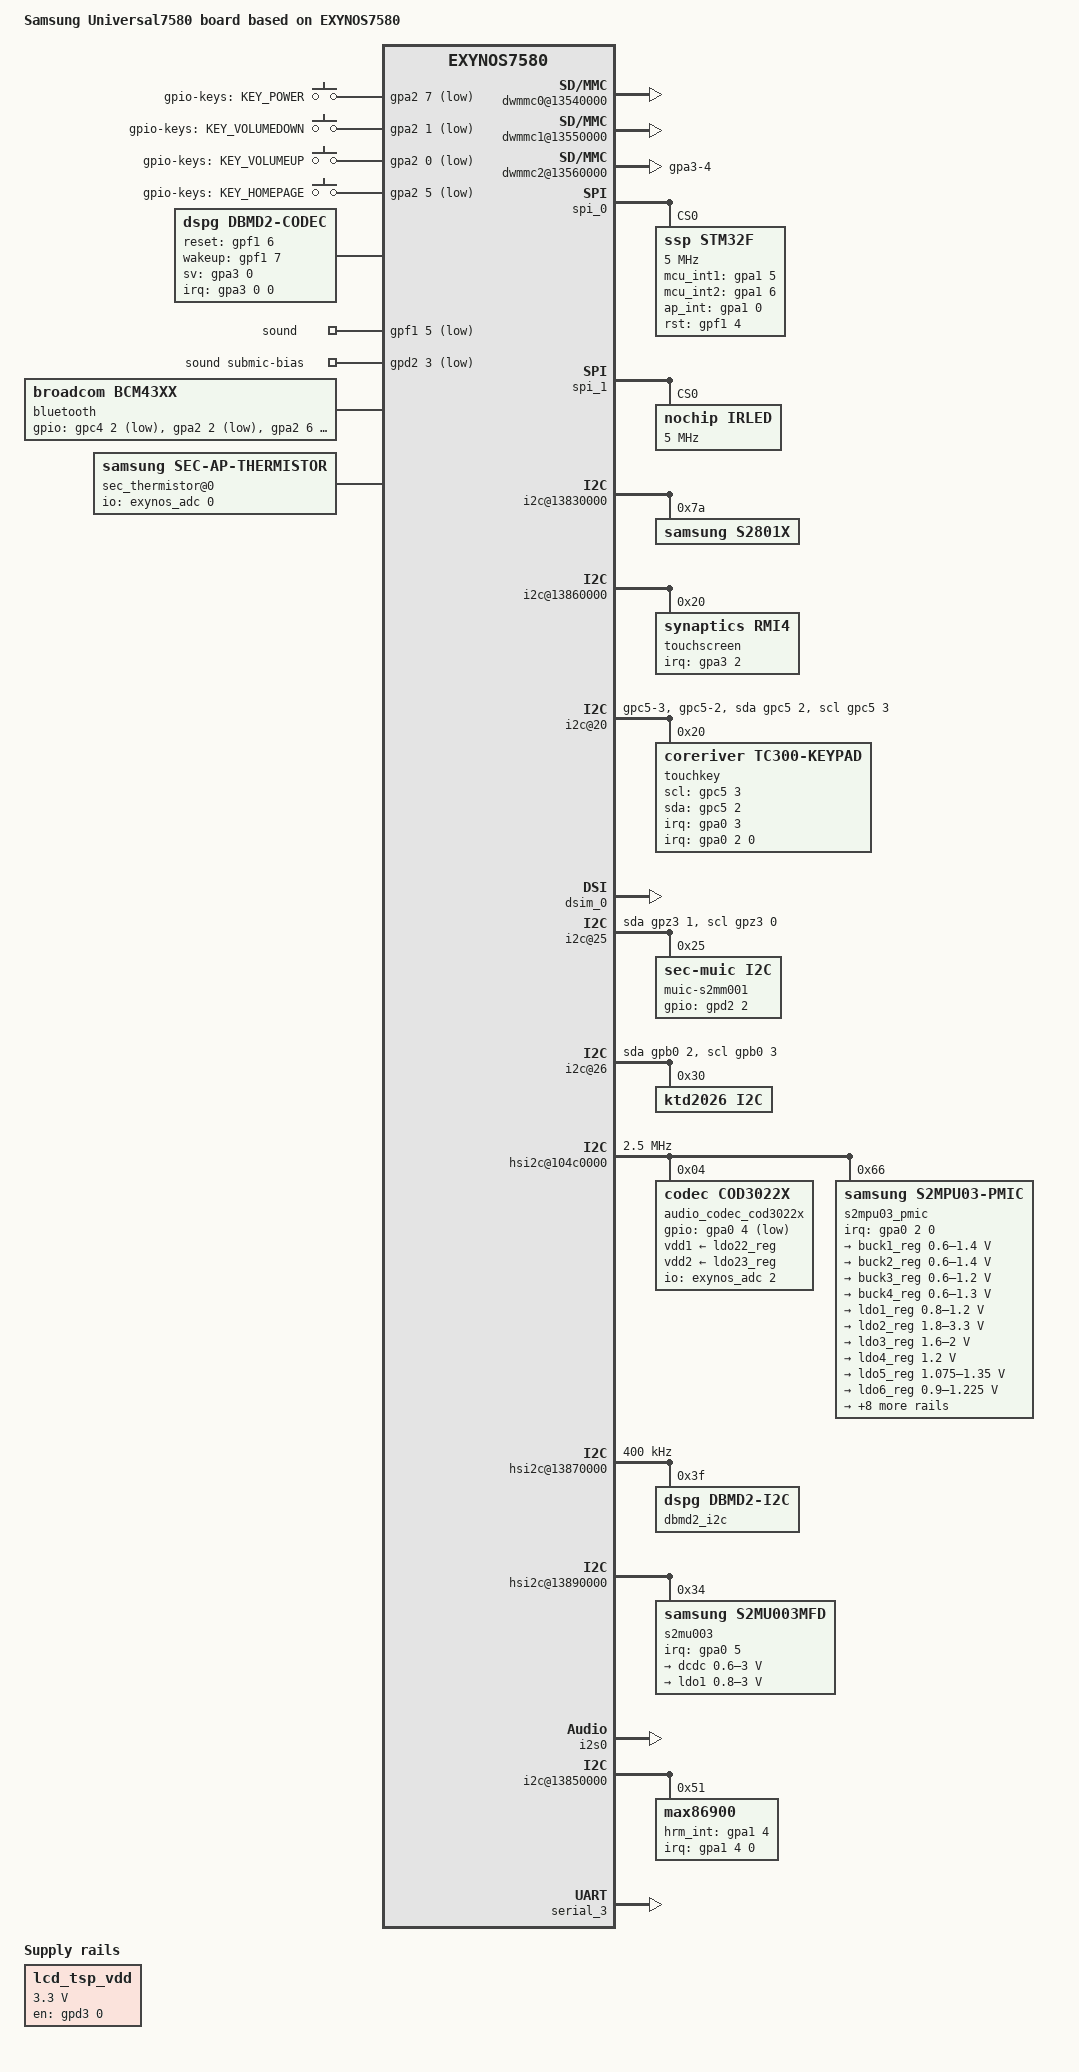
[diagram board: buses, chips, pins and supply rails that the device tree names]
/*
 * SAMSUNG Universal7580 board device tree source
 *
 * Copyright (c) 2014 Samsung Electronics Co., Ltd.
 *		http://www.samsung.com
 *
 * This program is free software; you can redistribute it and/or modify
 * it under the terms of the GNU General Public License version 2 as
 * published by the Free Software Foundation.
 */

/dts-v1/;
#include "exynos7580-reserve-2000MB.dtsi"
#include "exynos7580.dtsi"
#include "modem-carmen2-pdata.dtsi"
#include "exynos7580-carmen2_battery.dtsi"
#include "exynos7580-carmen2_fingerprint-sensor_00.dtsi"

&pinctrl_0 {
	pinctrl-names = "default","sleep";
	pinctrl-0 = <&initial0>;
	pinctrl-1 = <&sleep0>;
	initial0: initial-state {
		gpa1-0 {
			samsung,pins = "gpa1-0"; /* SSP_AP_INT */
			samsung,pin-function = <1>;
			samsung,pin-pud = <3>;
			samsung,pin-drv = <3>;
			samsung,pin-val = <1>;
		};
		gpa1-5 {
			samsung,pins = "gpa1-5"; /* SSP_MCU_INT1 */
			samsung,pin-function = <0>;
			samsung,pin-pud = <0>;
			samsung,pin-drv = <0>;
		};
		gpa1-6 {
			samsung,pins = "gpa1-6"; /* SSP_MCU_INT2 */
			samsung,pin-function = <0>;
			samsung,pin-pud = <0>;
			samsung,pin-drv = <0>;
		};
	};

	sleep0: sleep-state {
		gpa1-0 {
			samsung,pins = "gpa1-0"; /* SSP_AP_INT */
			samsung,pin-con-pdn = <3>;
			samsung,pin-pud-pdn = <0>;
		};
		gpa1-5 {
			samsung,pins = "gpa1-5"; /* SSP_MCU_INT1 */
			samsung,pin-con-pdn = <3>;
			samsung,pin-pud-pdn = <0>;
		};
	};
};

&pinctrl_6 {
	pinctrl-names = "default";
	pinctrl-0 = <&initial6>;
	initial6: initial-state {
		gpf1-4 {
			samsung,pins = "gpf1-4"; /* SSP_RST */
			samsung,pin-function = <1>;
			samsung,pin-pud = <0>;
			samsung,pin-drv = <0>;
			samsung,pin-val = <1>;
		};
	};
};

/ {
	model = "Samsung Universal7580 board based on EXYNOS7580";
	model_info-chip = <7580>;
	model_info-platform = "android";
	model_info-subtype = "samsung";
	model_info-hw_rev = <0>;
	model_info-hw_rev_end = <0>;
	compatible = "samsung,exynos7580-universal7580", "samsung,exynos7580";

	chosen {
		bootargs = "console=ttySAC1,115200n8 ess_setup=0x46000000 pmic_info=0x02";
		linux,initrd-start = <0x42000000>;
		linux,initrd-end = <0x421FFFFF>;
	};

	fixed-rate-clocks {
		oscclk {
			compatible = "samsung,exynos7580-oscclk";
			clock-frequency = <26000000>;
		};
	};

	dwmmc0@13540000 {
		status = "okay";
		num-slots = <1>;
		broken-cd;
		use-smu;
		fixed_volt;
		clock-gate;
		enable-cclk-on-suspend;
		only_once_tune;
		use-fine-tuning;
		ignore-phase = <(1 << 7)>;
		bypass-for-allpass;
		supports-highspeed;
		supports-hs200-mode;
		supports-ddr200-mode;
		supports-ddr200-enhanced-strobe;
		enable-cache-control;
		use-enable-shift;
		enable-ulp-mode;
		qos_int_level = <200000>;
		fifo-depth = <0x40>;
		card-detect-delay = <200>;
		samsung,dw-mshc-ciu-div = <3>;
		samsung,dw-mshc-sdr-timing = <3 0 2 0>;
		samsung,dw-mshc-ddr-timing = <3 0 2 2>;
		samsung,dw-mshc-hs200-timing = <3 0 3 0>;
		samsung,dw-mshc-ddr200-timing = <1 0 2 0>;
		samsung,dw-mshc-ddr200-ulp-timing = <3 0 3 0>;
		samsung,dw-mshc-ddr200-delay-line = <0x28>;
		samsung,dw-mshc-ddr200-tx-delay-line = <0x28>;
		samsung,dw-mshc-txdt-crc-timer-fastlimit = <0x34>;
		samsung,dw-mshc-txdt-crc-timer-initval = <0x38>;
		clk_pin = "gpr0-0";
		clk_addr = "13750000.pinctrl";
		clk_val = <0x3>;
		clk_str_num = <6>;
                tp_mon_depth = <2>;
                              /* Byte/s,  MIF clk, CPU clk, KFC clk*/
                tp_mon_table = <8000000 825000  800000  0
                                0       0       0       0>;
		num-ref-clks = <10>;
		ciu_clkin = <25 50 50 100 200 100 200 400 400 200>;
		pinctrl-names = "default";
		pinctrl-0 = <&sd0_clk &sd0_cmd &sd0_rdqs &sd0_bus1 &sd0_bus4 &sd0_bus8>;
		slot@0 {
			reg = <0>;
			bus-width = <8>;
		};
	};

	dwmmc1@13550000 {
		status = "okay";
		num-slots = <1>;
		channel = <1>;
		fixed_volt;
		clock-gate;
		enable-cclk-on-suspend;
		/* broken-cd; */
		caps-control;
		supports-highspeed;
		supports-sdr104-mode;
		keep-power-in-suspend;
		pm-ignore-notify;
		cd-type-external;
		use-broken-voltage;
		use-fine-tuning;
		ignore-phase = <(1 << 7)>;
		fifo-depth = <0x40>;
		card-detect-delay = <200>;
		qos_int_level = <468000>;
		samsung,dw-mshc-ciu-div = <3>;
		samsung,dw-mshc-sdr-timing = <3 0 2 1>;
		samsung,dw-mshc-ddr-timing = <3 0 2 1>;
		clk_pin = "gpr2-0";
		clk_addr = "13750000.pinctrl";
		clk_val = <0x2>;
		clk_str_num = <6>;
		num-ref-clks = <8>;
		ciu_clkin = <25 50 50 100 200 100 200 400>;
		tp_mon_depth = <2>;
				/* Byte/s,  MIF clk, CPU clk, KFC clk*/
                tp_mon_table = <8000000 825000  800000  0
				0       0       0       0>;
		pinctrl-names = "default";
		pinctrl-0 = <&sd1_clk &sd1_cmd &sd1_bus1 &sd1_bus4>;
		slot@0 {
			reg = <0>;
			bus-width = <4>;
		};
	};

	dwmmc2@13560000 {
		status = "okay";
		num-slots = <1>;
		supports-highspeed;
		supports-sdr104-mode;
		enable-cclk-on-suspend;
		cd-type = <1>;
		bypass-smu;
		use-fine-tuning;
		clock-gate;
		fifo-depth = <0x40>;
		card-detect-delay = <200>;
		qos_int_level = <468000>;
		bypass-for-allpass;
		fix-fmp-size-mismatch;
		not-allow-single-dma;
		samsung,dw-mshc-ciu-div = <3>;
		samsung,dw-mshc-sdr-timing = <3 0 3 2>;
		samsung,dw-mshc-ddr-timing = <3 0 2 1>;
		clk_pin = "gpr4-0";
		clk_addr = "10E60000.pinctrl";
		clk_val = <0x2>;
		clk_str_num = <6>;
		num-ref-clks = <8>;
		ciu_clkin = <25 50 50 100 200 100 200 400>;
		pinctrl-names = "default";
		pinctrl-0 = <&sd2_clk &sd2_cmd &sd2_cd &sd2_bus1 &sd2_bus4 &dwmmc2_cd_ext_irq>;
		gpio-controller;
		#gpio-cells = <2>;
		cd-gpio = <&gpa3 4 0xf>;
		sec-sd-slot-type = <1>; /* Normal SD tray */
		slot@0 {
			reg = <0>;
			bus-width = <4>;
			disable-wp;
		};
	};

	gpio_keys{
		compatible = "gpio-keys";
		pinctrl-names = "default";
		pinctrl-0 = <&gpa2_pull_up_univ>;

		button@1 {
			label = "gpio-keys: KEY_POWER";
			interrupt-parent = <&gpa2>;
			linux,code = <116>;
			gpios = <&gpa2 7 0xf>;
			gpio-key,wakeup = <1>;
		};
		button@2 {
			label = "gpio-keys: KEY_VOLUMEDOWN";
			interrupt-parent = <&gpa2>;
			linux,code = <114>;
			gpios = <&gpa2 1 0xf>;
		};
		button@3 {
			label = "gpio-keys: KEY_VOLUMEUP";
			interrupt-parent = <&gpa2>;
			linux,code = <115>;
			gpios = <&gpa2 0 0xf>;
		};
		button@4 {
			label = "gpio-keys: KEY_HOMEPAGE";
			interrupt-parent = <&gpa2>;
			linux,code = <172>;
			gpios = <&gpa2 5 0xf>;
			gpio-key,wakeup = <1>;
		};
	};

	pinctrl@139B0000 {
		cfg_irq: cfg-irq {
			samsung,pins = "gpa0-3";
			samsung,pin-function = <0xf>;
			samsung,pin-pud = <3>;
			samsung,pin-drv = <0>;
		};
		cfg_input: cfg-input {
			samsung,pins = "gpa0-3";
			samsung,pin-function = <0>;
			samsung,pin-pud = <1>;
			samsung,pin-drv = <0>;
		};
		attn_irq: attn-irq {
			samsung,pins = "gpa3-2";
			samsung,pin-function = <0xf>;
			samsung,pin-pud = <0>;
			samsung,pin-drv = <0>;
		};
		attn_input: attn-input {
			samsung,pins = "gpa3-2";
			samsung,pin-function = <0>;
			samsung,pin-pud = <1>;
			samsung,pin-drv = <0>;
		};
		if_irq: if-irq {
			samsung,pins = "gpa0-5";
			samsung,pin-pud = <3>;
			samsung,pin-drv = <3>;
		};
		muic_irq: muic-irq {
			samsung,pins = "gpa1-3";
			samsung,pin-pud = <0>;
			samsung,pin-drv = <0>;
		};
		dwmmc2_cd_ext_irq: dwmmc2_cd_ext_irq {
			samsung,pins = "gpa3-4";
			samsung,pin-function = <0xf>;
			samsung,pin-pud = <3>;
			samsung,pin-drv = <0>;
		};
	};

	spi_0: spi@13910000 {
		/delete-property/ dma-mode;
		/delete-property/ dmas;
		/delete-property/ dma-names;
		#address-cells = <1>;
		#size-cells = <0>;
		pinctrl-names = "default";
		pinctrl-0 = <&spi0_bus>;
		pinctrl-1 = <&spi0_cs>;
		num-cs = <1>;
		status = "okay";

		STM32F@0 {
			compatible = "ssp,STM32F";
			reg = <0>;
			spi-max-frequency = <5000000>;
			spi-cpol;
			spi-cpha;
			pinctrl-names = "default";
			pinctrl-0 = <&ssp_rst &ssp_ap_int &ssp_mcu_int1 &ssp_mcu_int2>;

			gpio-controller;
			#gpio-cells = <2>;
			ssp,mcu_int1-gpio = <&gpa1 5 0x00>;
			ssp,mcu_int2-gpio = <&gpa1 6 0x00>;
			ssp,ap_int-gpio = <&gpa1 0 0x00>;
			ssp,rst-gpio = <&gpf1 4 0x00>;
			ssp,acc-position = <6>;
			ssp,mag-position = <7>;
			ssp,prox-hi_thresh = <130>;
			ssp,prox-low_thresh = <90>;

			controller-data {
				cs-gpio = <&gpb2 1 0>;
				samsung,spi-feedback-delay = <0>;
			};
		};
	};

	spi_1: spi@13920000 {
		/delete-property/ dma-mode;
		/delete-property/ dmas;
		/delete-property/ dma-names;
		#address-cells = <1>;
		#size-cells = <0>;
		pinctrl-names = "default";
		pinctrl-0 = <&spi1_bus>;
		pinctrl-1 = <&spi1_cs>;
		status = "okay";

		irled@0 {
			compatible = "nochip,irled";
			reg = <0>;
			spi-max-frequency = <5000000>;
			irled,default_hz = <38000>;
			irled,high_bit_size = <6>;
			irled,power_type = "ALW";
			irled,regulator = "VLED_3P3";

			controller-data {
				cs-gpio = <&gpb2 7 0>;
				samsung,spi-feedback-delay = <0>;
				samsung,spi-chip-select-mode = <0>;
			};
		};
	};

	pinctrl@138C0000 {
		gpio_cp_reset: gpio_cp_reset {
			samsung,pins = "gpc3-3";
			samsung,pin-function = <0x1>;
			samsung,pin-pud = <3>;
			samsung,pin-drv = <3>;
			samsung,pin-val = <1>;
			samsung,pin-con-pdn = <1>;
		};
	};

	pinctrl@138D0000 {
		i2c_pdn_off: i2c-pdn_off {
			samsung,pins = "gpc4-1", "gpc4-0";
			samsung,pin-con-pdn = <2>;
			samsung,pin-pud-pdn = <1>;
		};
	};

	i2c@13830000 {
		samsung,i2c-sda-delay = <100>;
		samsung,i2c-max-bus-freq = <400000>;
		status = "okay";

		s2801x: s2801x@7a {
			compatible = "samsung,s2801x";
			reg = <0x7a>;
			clocks = <&clock 154>,	/* sclk_audmixer */
				 <&clock 155>,	/* sclk_audmixer_bclk0*/
				 <&clock 156>,	/* sclk_audmixer_bclk1 */
				 <&clock 157>,	/* sclk_audmixer_bclk2 */
				 <&clock 152>,	/* bclk_mi2s */
				 <&clock 149>;	/* dout_audmixer*/

			clock-names = "audmixer_sysclk", "audmixer_bclk0",
					"audmixer_bclk1", "audmixer_bclk2",
					"mi2s_bclk", "audmixer_dout";
			sysreg-reset = <0x110F2000>;
			sysreg-i2c = <0x110F3000>;
			pinctrl-names = "default", "idle", "bt-idle";
			pinctrl-0 = <&i2s_pmic_bus
					&i2s_codec_clk
					&pcm_bt_bus>;
			pinctrl-1 = <&i2s_pmic_bus_idle
					&i2s_codec_clk_idle
					&pcm_bt_bus_idle>;
			pinctrl-2 = <&i2s_pmic_bus
					&i2s_codec_clk
					&pcm_bt_bus_idle>;
			samsung,lpass-subip;
		};
	};

	i2c@13860000 {
		samsung,i2c-sda-delay = <100>;
		samsung,i2c-max-bus-freq = <400000>;
		status = "okay";

		touchscreen@20 {
			compatible = "synaptics,rmi4";
			reg = <0x20>;
			pinctrl-names = "on_state", "off_state";
			pinctrl-0 = <&attn_irq>;
			pinctrl-1 = <&attn_input &i2c_pdn_off>;
			synaptics,irq_gpio = <&gpa3 2 0>;
			synaptics,irq_type = <8200>;
			synaptics,max_coords = <1079 1919>;	/* x y */
			synaptics,num_lines = <29 16>;		/* rx tx */
			synaptics,regulator_dvdd = "lcd_tsp_vdd";
			synaptics,regulator_avdd = "tsp_avdd";
			synaptics,project_name = "K", "G900H";
			synaptics,firmware_name = "tsp_synaptics/synaptics_s5100_a3_k_FHD.fw";
		};
	};

	pinctrl@139C0000 {
		/* touchkey i2c*/
		cfg_i2c: cfg-i2c {
			samsung,pins = "gpc5-3", "gpc5-2";
			samsung,pin-function = <0>;
			samsung,pin-pud = <3>;
			samsung,pin-drv = <0>;
		};
		cfg_gpio: cfg-gpio {
			samsung,pins = "gpc5-3", "gpc5-2";
			samsung,pin-function = <0>;
			samsung,pin-pud = <0>;
			samsung,pin-drv = <0>;
		};
	};

	i2c@20 {
		compatible = "i2c-gpio";
		gpios = <&gpc5 2 0
				&gpc5 3 0>;
		i2c-gpio,delay-us = <5>;
		pinctrl-names = "default","on_i2c","off_i2c";
		pinctrl-0 = <&cfg_i2c>;
		pinctrl-1 = <&cfg_i2c>;
		pinctrl-2 = <&cfg_gpio>;
		#address-cells = <1>;
		#size-cells = <0>;
		status = "okay";

		touchkey@20 {
			pinctrl-names = "on_irq","off_irq";
			pinctrl-0 = <&cfg_irq>;
			pinctrl-1 = <&cfg_input>;
			compatible = "coreriver,tc300-keypad";
			reg = <0x20>;
			interrupts = <2 0 0>;
			interrupt-parent = <&gpa0>;
			coreriver,scl-gpio = <&gpc5 3 0>;
			coreriver,sda-gpio = <&gpc5 2 0>;
			coreriver,irq-gpio = <&gpa0 3 0>;
			coreriver,regulator_ic = "vtouch_1.8v";
			coreriver,fw_name = "coreriver/tc305k_carmen2.fw";
			coreriver,sensing_ch_num = <0x4>;
			coreriver,tsk_ic_num = <0x1>; /* tc300k : 0x00, tc350k : 0x01 */
			coreriver,use_bitmap = <1>;
		};
	};

	ion {
		compatible = "samsung,exynos5430-ion";
	};

	decon_fb@14830000 {
		/* XEINT7, GPIO & pin control */
		gpios = <&gpd0 7 0xf>;
		psr_mode = <2>;		/* 0: video mode, 1: DP command mode, 2: MIPI command mode */
		disp-pll-clk = <142000000>;
		status = "okay";
	};

	dsim_0: dsim@14800000 {
		lcd_info = <&s6e3fa2>;
		decon_board = <&decon_board_list>;
		/* lcd reset, power */
		/* gpios = <&gpd1 3 0x1>, <&gpd1 1 0x1>; */
		/* lcd_vdd = "lcd_tsp_vdd"; */
		status = "okay";
	};

	decon_board_list: decon_board_list {
		dsim_set_panel_power_enable {
			type = "regulator,enable", "gpio,high", "delay,usleep";
			gpios = <&gpd1 1 0x1>;
			delay = <10000 11000>;
			regulator = "lcd_tsp_vdd";
		};
		dsim_set_panel_power_disable {
			type = "gpio,low", "delay,usleep", "gpio,low", "delay,usleep", "regulator,disable";
			gpios = <&gpd1 3 0x1>, <&gpd3 1 0x1>;
			delay = <10000 11000>, <5000 6000>;
			regulator = "lcd_tsp_vdd";
		};
		dsim_reset_panel {
			type = "gpio,high", "delay,usleep", "gpio,low", "delay,usleep", "gpio,high", "delay,usleep";
			gpios = <&gpd1 3 0x1>, <&gpd1 3 0x1>, <&gpd1 3 0x1>;
			delay = <10000 11000>, <10000 11000>, <10000 11000>;
		};
	};

	s6e3fa2: s6e3fa2_fhd {
		mode = <2>;
		resolution = <1080 1920>;
		size = <70 121>;
		timing,refresh = <60>;
		timing,h-porch = <1 1 1>;
		timing,v-porch = <12 1 1>;
		timing,dsi-hs-clk = <1024>;
		timing,dsi-escape-clk = <16>;
		mic = <0>;
	};

	usb_notifier {
		compatible = "samsung,usb-notifier";
	};

	i2c@25 {
		compatible = "i2c-gpio";
		gpios = <&gpz3 1 0
			&gpz3 0 0>;
		i2c-gpio,delay-us = <5>;
		#address-cells = <1>;
		#size-cells = <0>;
		status = "okay";
		muic-s2mm001@25 {
			compatible = "sec-muic,i2c";
			reg = <0x25>;
			pinctrl-names = "default";
			pinctrl-0 = <&muic_irq>;
			muic,muic_int = <&gpa1 3 0>;
			gpios = <&gpd2 2 0>;
		};
	};

	i2c@26 {
		compatible = "i2c-gpio";
		gpios = <&gpb0 2 0
			&gpb0 3 0>;
		i2c-gpio,delay-us = <5>;
		#address-cells = <1>;
		#size-cells = <0>;
		status = "okay";
		ktd2026@26 {
			compatible = "ktd2026,i2c";
			reg = <0x30>;
			pinctrl-names = "default";

			led_conf@1 {
				led_conf-name = "led_r";
				brightness = <0>;
				max_brightness = /bits/ 8 <0x20>;
				flags = <0>;
			};
			led_conf@2 {
				led_conf-name = "led_g";
				brightness = <0>;
				max_brightness = /bits/ 8 <0x20>;
				flags = <0>;
			};
			led_conf@3 {
				led_conf-name = "led_b";
				brightness = <0>;
				max_brightness = /bits/ 8 <0x20>;
				flags = <0>;
			};
		};
	};

	pinctrl@139B0000 {
		pmic_irq: pmic-irq {
			samsung,pins = "gpa0-2";
			samsung,pin-pud = <3>;
			samsung,pin-drv = <3>;
		};
		cod3022_irq: cod3022-irq {
                        samsung,pins = "gpa0-4";
                        samsung,pin-pud = <3>;
                        samsung,pin-drv = <3>;
                };
		ssp_ap_int: ssp-ap-int {
			samsung,pins = "gpa1-0";
			samsung,pin-function = <0xf>;
			samsung,pin-pud = <3>;
			samsung,pin-drv = <3>;
		};
		ssp_mcu_int1: ssp-mcu-int1 {
			samsung,pins = "gpa1-5";
			samsung,pin-function = <0>;
			samsung,pin-pud = <0>;
			samsung,pin-drv = <0>;
		};
		ssp_mcu_int2: ssp-mcu-int2 {
			samsung,pins = "gpa1-6";
			samsung,pin-function = <0>;
			samsung,pin-pud = <0>;
			samsung,pin-drv = <0>;
		};
	};

	pinctrl@138C0000 {
		/* Warm reset information from AP */
		pm_wrsti: pm-wrsti {
			samsung,pins = "gpc3-2";
			samsung,pin-con-pdn = <3>;
		};
	};

	but_zones: but_zones {
		#list-but-cells = <3>;
	};

	hsi2c@104c0000 {
		status = "okay";
		samsung,hs-mode;
		clock-frequency = <2500000>;
		samsung,hsi2c-batcher;
		#address-cells = <1>;
		#size-cells = <0>;

		audio_codec_cod3022x: cod3022x@04 {
			compatible = "codec,cod3022x";
			reg = <0x04>;
			ten-bit-address;
			vdd1-supply = <&ldo22_reg>;
			vdd2-supply = <&ldo23_reg>;
			pinctrl-names = "default";
			pinctrl-0 = <&cod3022_irq>;
			interrupt-parent = <&gpa0>;
			gpios = <&gpa0 4 0xf>;
			/* Mic Bias: 0->2.1v, 1->2.5v, 2->2.6v, 3->3.0v */
			mic-bias1-voltage = <3>;
			mic-bias2-voltage = <3>;
			use-btn-adc-mode;
			io-channels = <&exynos_adc 2>;
			io-channel-names = "adc-jack";
			#io-channel-cells = <1>;
			io-channel-ranges;
			but-zones-list = <&but_zones 0 700 780>, /* send/end */
					<&but_zones 1 800 870>, /* google */
					<&but_zones 2 880 1000>, /* vol up */
					<&but_zones 3 1100 1200>; /* vol down */
		};

		s2mpu03_pmic@66 {
			compatible = "samsung,s2mpu03-pmic";
			reg = <0x66>;
			ten-bit-address;
			interrupts = <2 0 0>;
			interrupt-parent = <&gpa0>;
			pinctrl-names = "default";
			pinctrl-0 = <&pmic_irq &pm_wrsti>;
			g3d_en = <1>; /* 1 : enable , 0 : disable */
			buck4en_pin = "etc1-3";
			buck4en_addr = "139B0080.pinctrl";
			/* RTC: wtsr/smpl */
			wtsr_en = <1>; /* enable */
			smpl_en = <1>; /* enable */
			wtsr_timer_val = <3>;   /* 1000ms */
			smpl_timer_val = <4>;   /* 500ms */
			check_jigon = <0>; /* do not check jigon */
			/* RTC: If it's first boot, reset rtc to 1/1/2014 12:00:00(Wed) */
			init_time,sec = <0>;
			init_time,min = <0>;
			init_time,hour = <12>;
			init_time,mday = <1>;
			init_time,mon = <0>;
			init_time,year = <114>;
			init_time,wday = <3>;

			regulators {
				buck1_reg: BUCK1 {
					regulator-name = "cpu-cluster.1";
					regulator-min-microvolt = <600000>;
					regulator-max-microvolt = <1400000>;
					regulator-always-on;
					regulator-boot-on;
					regulator-ramp-delay = <12000>;
					regulator-initial-mode = <1>;
				};

				buck2_reg: BUCK2 {
					regulator-name = "cpu-cluster.0";
					regulator-min-microvolt = <600000>;
					regulator-max-microvolt = <1400000>;
					regulator-always-on;
					regulator-boot-on;
					regulator-ramp-delay = <12000>;
					regulator-initial-mode = <1>;
				};

				buck3_reg: BUCK3 {
					regulator-name = "vdd_intmif";
					regulator-min-microvolt = <600000>;
					regulator-max-microvolt = <1200000>;
					regulator-always-on;
					regulator-boot-on;
					regulator-ramp-delay = <12000>;
					regulator-initial-mode = <1>;
				};

				buck4_reg: BUCK4 {
					regulator-name = "vdd_g3d";
					regulator-min-microvolt = <600000>;
					regulator-max-microvolt = <1300000>;
					regulator-always-on;
					regulator-boot-on;
					regulator-ramp-delay = <12000>;
					regulator-initial-mode = <1>;
				};

				ldo1_reg: LDO1 {
					regulator-name = "vdd_ldo1";
					regulator-min-microvolt = <800000>;
					regulator-max-microvolt = <1200000>;
					regulator-always-on;
					regulator-ramp-delay = <12000>;
					regulator-initial-mode = <3>;
				};

				ldo2_reg: LDO2 {
					regulator-name = "vqmmc";
					regulator-min-microvolt = <1800000>;
					regulator-max-microvolt = <3300000>;
					regulator-boot-on;
					regulator-always-on;
					regulator-ramp-delay = <12000>;
					regulator-initial-mode = <1>;
				};

				ldo3_reg: LDO3 {
					regulator-name = "vdd_ldo3";
					regulator-min-microvolt = <1600000>;
					regulator-max-microvolt = <2000000>;
					regulator-boot-on;
					regulator-always-on;
					regulator-ramp-delay = <12000>;
					regulator-initial-mode = <3>;
				};

				ldo4_reg: LDO4 {
					regulator-name = "vdd_ldo4";
					regulator-min-microvolt = <1200000>;
					regulator-max-microvolt = <1200000>;
					regulator-boot-on;
					regulator-always-on;
					regulator-ramp-delay = <12000>;
					regulator-initial-mode = <1>;
				};

				ldo5_reg: LDO5 {
					regulator-name = "vdd_ldo5";
					regulator-min-microvolt = <1075000>;
					regulator-max-microvolt = <1350000>;
					regulator-boot-on;
					regulator-always-on;
					regulator-ramp-delay = <12000>;
					regulator-initial-mode = <3>;
				};

				ldo6_reg: LDO6 {
					regulator-name = "vdd_ldo6";
					regulator-min-microvolt = <900000>;
					regulator-max-microvolt = <1225000>;
					regulator-boot-on;
					regulator-always-on;
					regulator-ramp-delay = <12000>;
					regulator-initial-mode = <1>;
				};

				ldo7_reg: LDO7 {
					regulator-name = "vdd_ldo7";
					regulator-min-microvolt = <1600000>;
					regulator-max-microvolt = <2000000>;
					regulator-boot-on;
					regulator-always-on;
					regulator-initial-mode = <1>;
				};

				ldo8_reg: LDO8 {
					regulator-name = "vdd_ldo8";
					regulator-min-microvolt = <2250000>;
					regulator-max-microvolt = <3300000>;
					regulator-boot-on;
					regulator-always-on;
					regulator-initial-mode = <1>;
				};

				ldo10_reg: LDO10 {
					regulator-name = "vdd_ldo10";
					regulator-min-microvolt = <800000>;
					regulator-max-microvolt = <1350000>;
					regulator-always-on;
					regulator-initial-mode = <1>;
				};

				ldo22_reg: LDO22 {
					regulator-name = "codec_ldo22";
					regulator-min-microvolt = <1000000>;
					regulator-max-microvolt = <2375000>;
					regulator-initial-mode = <1>;
				};

				ldo23_reg: LDO23 {
					regulator-name = "codec_ldo23";
					regulator-min-microvolt = <1000000>;
					regulator-max-microvolt = <2375000>;
					regulator-initial-mode = <1>;
				};

				ldo28_reg: LDO28 {
					regulator-name = "vtouch_1.8v";
					regulator-min-microvolt = <1800000>;
					regulator-max-microvolt = <1800000>;
					/* regulator-always-on; */
					regulator-initial-mode = <1>;
				};

				ldo33_reg: LDO33 {
					regulator-name = "tsp_avdd";
					regulator-min-microvolt = <1800000>;
					regulator-max-microvolt = <3375000>;
					regulator-always-on;
					regulator-initial-mode = <1>;
				};

				ldo37_reg: LDO37 {
					regulator-name = "VLED_3P3";
					regulator-min-microvolt = <3300000>;
					regulator-max-microvolt = <3350000>;
					regulator-always-on;
					regulator-initial-mode = <1>;
				};
			};
		};
	};

	lcd_tsp_vdd: gpio-regulator {
		compatible = "regulator-fixed";

		regulator-name = "lcd_tsp_vdd";
		regulator-min-microvolt = <3300000>;
		regulator-max-microvolt = <3300000>;

		gpio = <&gpd3 0 0x1>;
		regulator-always-on;

		startup-delay-us = <100000>;
		enable-active-high;
	};

	hsi2c@13870000 {
		status = "okay";
		samsung,hs-mode;
		clock-frequency = <400000>;
		#address-cells = <1>;
		#size-cells = <0>;
		dbmd2_i2c: dbmd2_interface@3f {
			status = "okay";
			compatible = "dspg,dbmd2-i2c";
			reg = <0x3f>;
			/* operational-addr = <0x48>; */
 		};
	};

	dbmd2 {
		status = "okay";
		compatible = "dspg,dbmd2-codec";
		reset-gpio = <&gpf1 6 0>;
		wakeup-gpio = <&gpf1 7 0>;
		sv-gpio = <&gpa3 0 0>;

		/* auto_buffering = <1>; */
		/* buffer_size = <96000>; */
		/* audio_mode = <0>; */
		cmd-interface = <&dbmd2_i2c>;
		feature-va;  /* enable VA */
		feature-vqe; /* enable VQE */
		/* feature-firmware-overlay; */
		va-firmware-name = "dbmd2_va_fw_i2c.bin";
		vqe-firmware-name = "dbmd2_vqe_fw_i2c.bin";
		/* vqe-non-overlay-firmware-name = "dbmd2_vqe_non_overlay_fw_i2c.bin"; */

		/* SPI MISO line is also D2's strap1 and requires reset during D2 resets */
		d2-strap1 = <&gpz2 2 0>;
		d2-strap1-rst-val = <1>;

		va-config = <0x80220103
			0x80150087
			0x801b0020
			0x80210000
			0x80230040
			0x80280301>;

		va-speeds = <0x0000 57600 0 0
			     0x0000 1000000 0 0
			     0x0000 1000000 0 0>;

		va-mic-config = <0x0000 0x0000 0x0005>;
		va-mic-mode = <4>;
		/* vqe-config = < >; */
		vqe-modes = <0 1 2 3 4 5 0x100>;
		master-clk-rate = <32768>;
		auto_detection = <1>;

		interrupts = <0 0 0>;
		interrupt-parent = <&gpa3>;

		gpio-controller;
		#gpio-cells = <2>;

		pinctrl-names = "default";
		pinctrl-0 = <&dbmd_reset &dbmd_wakeup &dbmd_sensory>;
	};

	dbmd2_event {
		status = "okay";
		compatible = "samsung,dbmd2-event";
	};

	hsi2c@13890000 {
		status = "okay";
		s2mu003@34 {
			compatible = "samsung,s2mu003mfd";
			reg = <0x34>;
			pinctrl-names = "default";
			pinctrl-0 = <&if_irq>;
			s2mu003,irq-gpio = <&gpa0 5 0>;

			regulators {
				s2mu003-buck1 {
					regulator-name = "dcdc";
					regulator-min-microvolt = <600000>;
					regulator-max-microvolt = <3000000>;
					regulator-always-on;
					regulator-boot-on;
				};
				s2mu003-ldo1 {
					regulator-name = "ldo1";
					regulator-min-microvolt = <800000>;
					regulator-max-microvolt = <3000000>;
					regulator-always-on;
					regulator-boot-on;
				};
			};

			leds {
				torch-gpio = <&gpe0 1 0>;
				flash-gpio = <&gpe0 2 0>;

				status = "okay";
				s2mu003-leds1 {
					ledname = "leds-sec1";
					id = <0>;
					brightness = <0x17>;
					timeout = <0x0>;
					max-brightness = <0x15>;
				};

				s2mu003-leds2 {
					ledname = "leds-sec2";
					id = <1>;
					brightness = <0x02>;
					timeout = <0x0>;
					max-brightness = <0xf>;
				};
			};
		};
	};

	i2s0: i2s@11040000 {
		status = "okay";
	};

	audio_cp_dummy: cp_dummy {
		compatible = "samsung,cp_dummy";
		status = "okay";
	};

	audio_bt_dummy: bt_dummy {
		compatible = "samsung,bt_dummy";
		status = "okay";
	};

	audio_codec_dummy: dummy-codec {
		compatible = "samsung,dummy-codec";
		status = "okay";
	};

	sound {
		compatible = "samsung,universal7580-cod3022x";
		samsung,audio-cpu = <&i2s0	/* primary */
					&i2s0	/* secondary */
					&audio_cp_dummy
					&audio_bt_dummy>;
		samsung,audio-codec = <&audio_codec_cod3022x
					&audio_codec_cod3022x
					&audio_codec_cod3022x
					&audio_codec_dummy>;
		samsung,auxdev = <&s2801x>;
		gpios = <&gpf1 5 0x1>;
		submic-bias-gpio = <&gpd2 3 0x1>;
		samsung,codec-uses-i2scdclk;
		clocks = <&clock 151>;		 /* sclk_i2s */
		clock-names = "codec_bclk";
		pinctrl-names = "default";
		pinctrl-0 = <&sub_mic_bias_en>;
		status = "okay";
	};


	i2c@13850000 {
		status = "okay";
		max86900@51 {
			compatible = "max86900";
			pinctrl-names = "default";
			pinctrl-0 = <&hrm_ven &hrm_int>;
			reg = <0x51>;
			interrupt-parent = <&gpa1>;
			interrupts = <4 0 0>;
			max86900,hrm_int-gpio = <&gpa1 4 0>;
			max86900,vdd_1p8_en = <&gpd3 1 0>;
			max86900,led_3p3 = "VLED_3P3";
		};
	};

	pinctrl@139C0000 {
		motor_en: motor_en {
			samsung,pins = "gpe0-7";
			samsung,pin-function = <1>;	/* output */
			samsung,pin-pud = <3>;	/* pull up */
			samsung,pin-drv = <0>;
		};

		vibetonz_pwm: vibetonz_pwm {
			samsung,pins = "gpc1-1";
			samsung,pin-function = <2>;
			samsung,pin-pud = <0>;
			samsung,pin-drv = <0>;
		};
	};

	drv2603 {
		compatible = "drv2603";
		pinctrl-names = "default";
		pinctrl-0 = <&motor_en &vibetonz_pwm>;
		drv2603_pdata {
			status = "okay";
			drv2603,max_timeout = <10000>;
			drv2603,duty = <34500>;
			drv2603,period = <38240>;
			drv2603,pwm_id = <0>;
			drv2603,gpio_en = <&gpe0 7 0x1>;
		};
	};

	serial_3: uart@11060000 {
		/* Enable AUD-UART for Bluetooth */
		pinctrl-0 = <&uart_bt_active &uart_bt_output_sleep &uart_bt_input_sleep>;
		status = "okay";
	};

	bluetooth {
		compatible = "broadcom,bcm43xx";
		gpios = <&gpc4 2 0x1	/*BT_EN*/
				&gpa2 2 0x1	/*BT_WAKE*/
				&gpa2 6 0xF	/*BT_HOST_WAKE*/ >;
		pinctrl-names = "default";
		pinctrl-0=<&bt_hostwake &bt_btwake &bt_en>;
		status = "okay";
	};

	pinctrl@139C0000 {
		dbmd_wakeup: dbmd-wakeup {
			samsung,pins ="gpf1-7";
			samsung,pin-function = <1>;
			samsung,pin-pud = <1>;
			samsung,pin-con-pdn =<3>;
			samsung,pin-pud-pdn = <1>;
			samsung,pin-val = <0>;
		};
		dbmd_reset: dbmd-reset {
			samsung,pins ="gpf1-6";
			samsung,pin-function = <1>;
			samsung,pin-pud = <1>;
			samsung,pin-con-pdn =<3>;
			samsung,pin-pud-pdn = <1>;
			samsung,pin-val = <0>;
		};
		sub_mic_bias_en:sub-mic-bias-en {
			samsung,pins ="gpd2-3";
			samsung,pin-function = <1>;
			samsung,pin-pud = <0>;
			samsung,pin-con-pdn = <3>;
			samsung,pin-pud-pdn = <0>;
			samsung,pin-val = <0>;
		};
		ssp_rst: ssp-rst {
			samsung,pins = "gpf1-4";
			samsung,pin-function = <0xf>;
			samsung,pin-pud = <3>;
			samsung,pin-drv = <3>;
		};
	};
	pinctrl@139B0000 {
		dbmd_sensory: dbmd-sensory {
			samsung,pins = "gpa3-0";
			samsung,pin-function = <0xf>;
			samsung,pin-pud = <0>;
		};
	};

	argos {
		compatible = "samsung,argos";
		#address-cells = <1>;
		/*  The device number should be assigned for each device, e.g. "boot_device@1" and "boot_device@2".
		    Duplicated number is not allowed. Please refer the below example. */

		/* Table Format should be
		 * <Throughput(Mbps) ARM_min ARM_max KFC_min KFC_max MIF INT Task IRQ>
		 * ARM_min : Big Core's minimum frequency lock. 0 means not set,
		 * ARM_max : Big Core's maximum frequency lock. 0 means not set,
		 * KFC_min : Little Core's minimum frequency lock. 0 means not set,
		 * KFC_max : Little Core's maximum frequency lock. 0 means not set,
		 * MIF : MIF frequency lock. 0 means not set,
		 * INT : INT frequency lock. 0 means not set,
		 * Task : 1 - Set task affinity lock.
		 *        0 - Not set or unlock,
		 *              Task affinity should be predefined driver's code.
		 * IRQ : 1 - Set irq affinity lock.
		 *       0 - Not set or unlock,
		 *              Task affinity should be predefined driver's code.
		 */
		boot_device@1 {
			net_boost,label="IPC";
			net_boost,node="rmnet0 rmnet1 rmnet2 rmnet3 rmnet4 rmnet5 rmnet6 rmnet7 umts_dm0";
			net_boost,table_size = <3>;
			net_boost,table= <  1 0 0 0 0 0 0 0 1
					   20 0 0 800000 0 416000 100000 0 1
					   50 0 0 1000000 0 825000 100000 0 1
					  100 0 0 1400000 0 825000 100000 0 1>;
		};

		/* Example
		   boot_device@2 {
		   net_boost,label="EMMC";
		   net_boost,node="";
		   net_boost,sysnode="/sys/class/mmc_host/mmc0/trans_count";
		   net_boost,table_size = <1>;
		   net_boost,table= <64 0 0 1300000 0 825000 400000 0 0>;
		   };
		   boot_device@3 {
		   net_boost,label="WIFI";
		   net_boost,node="wlan0";
		   net_boost,table_size = <3>;
		   net_boost,table= <60 1000000 0 800000 0 0 200000 0 0
		   100 1200000 0 1000000 0 0 200000 0 0
		   180 1700000 0 1100000 0 543000 267000 0 0>;
		   };
		   boot_device@4 {
		   net_boost,label="P2P";
		   net_boost,node="p2p-wlan0-0";
		   net_boost,table_size = <3>;
		   net_boost,table= <30 1000000 0 800000 0 0 200000 0 0
		   50 1200000 0 1000000 0 0 200000 0 0
		   90 1700000 0 1100000 0 543000 267000 0 0>;
		   };
		   boot_device@5 {
		   net_boost,label="CLAT";
		   net_boost,node="clat clat4";
		   net_boost,table_size = <3>;
		   net_boost,table= <120 1400000 0 0 0 825000 0 0 0
		   130 1500000 0 0 0 825000 0 0 0
		   150 1600000 0 0 0 825000 0 0 0>;
		   };
		 */
	};

	mif_pdata {
		pinctrl-names = "default";
		pinctrl-0 = <&cp_rst_n &ds_det>;

		/* To do: will be remove, for system revision */
		gpios = <&gpd0 0 0x0>,
		       <&gpd0 1 0x0>,
		       <&gpd0 2 0x0>,
		       <&gpd0 3 0x0>;

		modem_ctrl,gpio_cp_rst_n = <&gpc3 3 0x1>;
		mif,gpio_ds_det = <&gpd0 4 0x0>;

		mif,ap_clk_table = <
			/* khz */
			1600000
			1500000
			1400000
			1300000
			1200000
			1100000
			1000000
			900000
			800000
			700000
			600000
			500000
			400000
			300000
			>;

		mif,mif_clk_table = <
			/* khz */
			825000
			728000
			667000
			559000
			416000
			338000
			273000
			200000
			>;
	};

	pinctrl@138C0000 {
		cp_rst_n: cp_rst_n {
			samsung,pins = "gpc3-3";
			samsung,pin-function = <1>;	/* OUTPUT */
			samsung,pin-pud = <0>;		/* PU & PD DISABLE */
			samsung,pin-con-pdn = <1>;	/* OUTPUT 1 */
			samsung,pin-pud-pdn = <0>;	/* PU & PD DISABLE */
		};
	};

	pinctrl@139C0000 {
		ds_det: ds_det {
			samsung,pins = "gpd0-4";
			samsung,pin-function = <0>;	/* INPUT */
			samsung,pin-pud = <0>;
			samsung,pin-con-pdn = <3>;	/* PREV STATE */
			samsung,pin-pud-pdn = <0>;
		};
	};

	sec_thermistor@0 {
		compatible = "samsung,sec-ap-thermistor";
		status = "okay";

		adc_array = <289 301 313 324 336 348 360 372 383 395
				407 423 438 454 470 486 501 517 533 548
				564 586 607 629 651 673 694 716 738 759
				781 805 828 852 875 899 930 961 992 1023
				1054 1087 1120 1154 1187 1220 1255 1289 1324 1358
				1393 1433 1472 1512 1551 1591 1631 1670 1710 1749
				1789 1832 1875 1918 1961 2004 2047 2090 2133 2176
				2219 2264 2309 2355 2400 2445 2490 2535 2581 2626
				2671 2708 2745 2782 2819 2856 2892 2929 2966 3003
				3040 3070 3100 3130 3160 3190 3216 3242 3267 3293
				3319 3341 3363 3384 3406 3428 3446 3463 3481 3498 3516>;
		temp_array = <900 890 880 870 860 850 840 830 820 810
					   800 790 780 770 760 750 740 730 720 710
					   700 690 680 670 660 650 640 630 620 610
					   600 590 580 570 560 550 540 530 520 510
					   500 490 480 470 460 450 440 430 420 410
					   400 390 380 370 360 350 340 330 320 310
					   300 290 280 270 260 250 240 230 220 210
					   200 190 180 170 160 150 140 130 120 110
					   100 90 80 70 60 50 40 30 20 10
					   0 (-10) (-20) (-30) (-40) (-50) (-60) (-70) (-80) (-90)
					   (-100) (-110) (-120) (-130) (-140) (-150) (-160) (-170) (-180) (-190) (-200)>;
		io-channels = <&exynos_adc 0>;
		io-channel-names = "adc-ap-temp";
		io-channel-ranges;
	};
};
